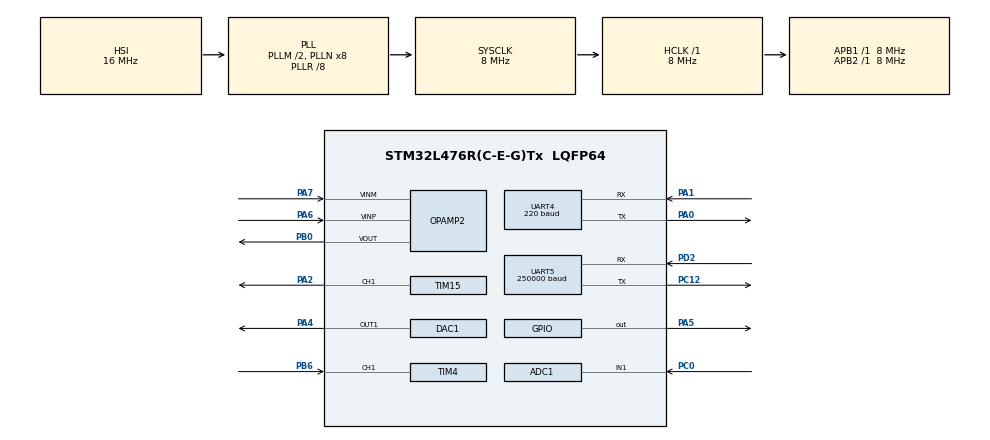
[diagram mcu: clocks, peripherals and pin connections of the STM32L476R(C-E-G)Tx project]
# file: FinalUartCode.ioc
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ADC1.Channel-0\#ChannelRegularConversion=ADC_CHANNEL_1
ADC1.NbrOfConversionFlag=1
ADC1.OffsetNumber-0\#ChannelRegularConversion=ADC_OFFSET_NONE
ADC1.Rank-0\#ChannelRegularConversion=1
ADC1.SamplingTime-0\#ChannelRegularConversion=ADC_SAMPLETIME_247CYCLES_5
ADC1.master=1
Dma.ADC1.4.Direction=DMA_PERIPH_TO_MEMORY
Dma.ADC1.4.Instance=DMA1_Channel1
Dma.ADC1.4.MemDataAlignment=DMA_MDATAALIGN_HALFWORD
Dma.ADC1.4.MemInc=DMA_MINC_ENABLE
Dma.ADC1.4.Mode=DMA_CIRCULAR
Dma.ADC1.4.PeriphDataAlignment=DMA_PDATAALIGN_HALFWORD
Dma.ADC1.4.PeriphInc=DMA_PINC_DISABLE
Dma.ADC1.4.Priority=DMA_PRIORITY_LOW
Dma.Request0=UART4_RX
Dma.Request1=UART5_RX
Dma.Request2=UART5_TX
Dma.Request3=UART4_TX
Dma.Request4=ADC1
Dma.UART4_RX.0.Direction=DMA_PERIPH_TO_MEMORY
Dma.UART4_RX.0.Instance=DMA2_Channel5
Dma.UART4_RX.0.MemDataAlignment=DMA_MDATAALIGN_BYTE
Dma.UART4_RX.0.MemInc=DMA_MINC_ENABLE
Dma.UART4_RX.0.Mode=DMA_CIRCULAR
Dma.UART4_RX.0.PeriphDataAlignment=DMA_PDATAALIGN_BYTE
Dma.UART4_RX.0.PeriphInc=DMA_PINC_DISABLE
Dma.UART4_RX.0.Priority=DMA_PRIORITY_LOW
Dma.UART4_TX.3.Direction=DMA_MEMORY_TO_PERIPH
Dma.UART4_TX.3.Instance=DMA2_Channel3
Dma.UART4_TX.3.MemDataAlignment=DMA_MDATAALIGN_BYTE
Dma.UART4_TX.3.MemInc=DMA_MINC_ENABLE
Dma.UART4_TX.3.Mode=DMA_NORMAL
Dma.UART4_TX.3.PeriphDataAlignment=DMA_PDATAALIGN_BYTE
Dma.UART4_TX.3.PeriphInc=DMA_PINC_DISABLE
Dma.UART4_TX.3.Priority=DMA_PRIORITY_LOW
Dma.UART5_RX.1.Direction=DMA_PERIPH_TO_MEMORY
Dma.UART5_RX.1.Instance=DMA2_Channel2
Dma.UART5_RX.1.MemDataAlignment=DMA_MDATAALIGN_BYTE
Dma.UART5_RX.1.MemInc=DMA_MINC_ENABLE
Dma.UART5_RX.1.Mode=DMA_CIRCULAR
Dma.UART5_RX.1.PeriphDataAlignment=DMA_PDATAALIGN_BYTE
Dma.UART5_RX.1.PeriphInc=DMA_PINC_DISABLE
Dma.UART5_RX.1.Priority=DMA_PRIORITY_LOW
Dma.UART5_TX.2.Direction=DMA_MEMORY_TO_PERIPH
Dma.UART5_TX.2.Instance=DMA2_Channel1
Dma.UART5_TX.2.MemDataAlignment=DMA_MDATAALIGN_BYTE
Dma.UART5_TX.2.MemInc=DMA_MINC_ENABLE
Dma.UART5_TX.2.Mode=DMA_NORMAL
Dma.UART5_TX.2.PeriphDataAlignment=DMA_PDATAALIGN_BYTE
Dma.UART5_TX.2.PeriphInc=DMA_PINC_DISABLE
Dma.UART5_TX.2.Priority=DMA_PRIORITY_LOW
FREERTOS.Tasks01=UART_com,0,128,UARTPathIn,Default,NULL,Dynamic,NULL,NULL;UART_com2,-2,128,UARTPathOut,Default,NULL,Dynamic,NULL,NULL
FREERTOS.configUSE_NEWLIB_REENTRANT=1
Mcu.Family=STM32L4
Mcu.Name=STM32L476R(C-E-G)Tx
Mcu.Package=LQFP64
NVIC.ADC1_2_IRQn=true\:5\:0\:false\:false\:true\:true\:true\:true\:true
NVIC.DMA1_Channel1_IRQn=true\:5\:0\:false\:false\:true\:true\:false\:true\:true
NVIC.DMA2_Channel1_IRQn=true\:5\:0\:true\:false\:true\:true\:false\:true\:true
NVIC.DMA2_Channel2_IRQn=true\:5\:0\:true\:false\:true\:true\:false\:true\:true
NVIC.DMA2_Channel3_IRQn=true\:5\:0\:false\:false\:true\:true\:false\:true\:true
NVIC.DMA2_Channel5_IRQn=true\:5\:0\:false\:false\:true\:true\:false\:true\:true
NVIC.PriorityGroup=NVIC_PRIORITYGROUP_4
NVIC.TIM1_UP_TIM16_IRQn=true\:15\:0\:false\:false\:true\:false\:false\:true\:true
NVIC.TIM4_IRQn=true\:5\:0\:false\:false\:true\:true\:true\:true\:true
NVIC.TIM6_DAC_IRQn=true\:5\:0\:false\:false\:true\:true\:true\:true\:true
NVIC.TimeBase=TIM1_UP_TIM16_IRQn
NVIC.TimeBaseIP=TIM1
NVIC.UART4_IRQn=true\:5\:0\:false\:false\:true\:true\:true\:true\:true
NVIC.UART5_IRQn=true\:5\:0\:false\:false\:true\:true\:true\:true\:true
PA0.Mode=Asynchronous
PA0.Signal=UART4_TX
PA1.Mode=Asynchronous
PA1.Signal=UART4_RX
PA13\ (JTMS-SWDIO).Mode=JTAG_5_pins
PA13\ (JTMS-SWDIO).Signal=SYS_JTMS-SWDIO
PA14\ (JTCK-SWCLK).Mode=JTAG_5_pins
PA14\ (JTCK-SWCLK).Signal=SYS_JTCK-SWCLK
PA15\ (JTDI).Mode=JTAG_5_pins
PA15\ (JTDI).Signal=SYS_JTDI
PA2.Signal=S_TIM15_CH1
PA4.Signal=COMP_DAC11_group
PA5.Signal=GPIO_Output
PA6.Mode=PGA Connected
PA6.Signal=OPAMP2_VINP
PA7.Mode=PGA Connected
PA7.Signal=OPAMP2_VINM
PB0.Mode=PGA Connected
PB0.Signal=OPAMP2_VOUT
PB3\ (JTDO-TRACESWO).Mode=JTAG_5_pins
PB3\ (JTDO-TRACESWO).Signal=SYS_JTDO-SWO
PB4\ (NJTRST).Mode=JTAG_5_pins
PB4\ (NJTRST).Signal=SYS_JTRST
PB6.Signal=S_TIM4_CH1
PC0.Signal=ADCx_IN1
PC12.Mode=Asynchronous
PC12.Signal=UART5_TX
PC14-OSC32_IN\ (PC14).Mode=LSE-External-Oscillator
PC14-OSC32_IN\ (PC14).Signal=RCC_OSC32_IN
PC15-OSC32_OUT\ (PC15).Mode=LSE-External-Oscillator
PC15-OSC32_OUT\ (PC15).Signal=RCC_OSC32_OUT
PD2.Mode=Asynchronous
PD2.Signal=UART5_RX
PH0-OSC_IN\ (PH0).Mode=HSE-External-Oscillator
PH0-OSC_IN\ (PH0).Signal=RCC_OSC_IN
PH1-OSC_OUT\ (PH1).Mode=HSE-External-Oscillator
PH1-OSC_OUT\ (PH1).Signal=RCC_OSC_OUT
ProjectManager.HeapSize=0x200
ProjectManager.StackSize=0x400
ProjectManager.TargetToolchain=STM32CubeIDE
RCC.ADCFreq_Value=8000000
RCC.AHBFreq_Value=8000000
RCC.APB1Freq_Value=8000000
RCC.APB1TimFreq_Value=8000000
RCC.APB2Freq_Value=8000000
RCC.APB2TimFreq_Value=8000000
RCC.CortexFreq_Value=8000000
RCC.HCLKFreq_Value=8000000
RCC.HSE_VALUE=8000000
RCC.HSI_VALUE=16000000
RCC.MSI_VALUE=4000000
RCC.PLLM=2
RCC.PLLR=RCC_PLLR_DIV8
RCC.PLLSAI1R=RCC_PLLR_DIV8
RCC.PLLSourceVirtual=RCC_PLLSOURCE_HSI
RCC.SYSCLKFreq_VALUE=8000000
RCC.SYSCLKSource=RCC_SYSCLKSOURCE_PLLCLK
RCC.USBFreq_Value=32000000
RCC.VCOOutputFreq_Value=64000000
SH.ADCx_IN1.0=ADC1_IN1,IN1-Single-Ended
SH.COMP_DAC11_group.0=DAC1_OUT1,DAC_OUT1
SH.S_TIM15_CH1.0=TIM15_CH1,PWM Generation1 CH1
SH.S_TIM4_CH1.0=TIM4_CH1,Input_Capture1_from_TI1
TIM15.Channel-PWM\ Generation1\ CH1=TIM_CHANNEL_1
TIM15.Period=913
TIM15.Pulse-PWM\ Generation1\ CH1=457
TIM4.Channel-Input_Capture1_from_TI1=TIM_CHANNEL_1
UART4.BaudRate=220
UART5.BaudRate=250000
VP_FREERTOS_VS_CMSIS_V1.Mode=CMSIS_V1
VP_SYS_VS_tim1.Mode=TIM1
board=custom

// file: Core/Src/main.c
/* USER CODE BEGIN Header */
/**
  ******************************************************************************
  * @file           : main.c
  * @brief          : Main program body
  ******************************************************************************
  * @attention
  *
  * Copyright (c) 2024 STMicroelectronics.
  * All rights reserved.
  *
  * This software is licensed under terms that can be found in the LICENSE file
  * in the root directory of this software component.
  * If no LICENSE file comes with this software, it is provided AS-IS.
  *
  ******************************************************************************
  */
/* USER CODE END Header */
#include "main.h"
#include "cmsis_os.h"

/* USER CODE BEGIN Includes */
#include <stdio.h>
#include <stdlib.h>
/* USER CODE END Includes */

ADC_HandleTypeDef hadc1;
DMA_HandleTypeDef hdma_adc1;

DAC_HandleTypeDef hdac1;

OPAMP_HandleTypeDef hopamp2;

TIM_HandleTypeDef htim4;
TIM_HandleTypeDef htim15;

UART_HandleTypeDef huart4;
UART_HandleTypeDef huart5;
DMA_HandleTypeDef hdma_uart4_rx;
DMA_HandleTypeDef hdma_uart4_tx;
DMA_HandleTypeDef hdma_uart5_rx;
DMA_HandleTypeDef hdma_uart5_tx;

osThreadId UART_comHandle;
osThreadId UART_com2Handle;

void SystemClock_Config(void);
static void MX_GPIO_Init(void);
static void MX_DMA_Init(void);
static void MX_UART4_Init(void);
static void MX_UART5_Init(void);
static void MX_TIM15_Init(void);
static void MX_OPAMP2_Init(void);
static void MX_DAC1_Init(void);
static void MX_ADC1_Init(void);
static void MX_TIM4_Init(void);
void UARTPathIn(void const * argument);
void UARTPathOut(void const * argument);

/* USER CODE BEGIN 0 */
#define BUFFER_SIZE_X 1
#define BUFFER_SIZE_Y 255

/*
 * Variables for UART - high speed path
 *
 */

uint8_t dmaBufferHS[BUFFER_SIZE_Y][BUFFER_SIZE_X];
uint8_t rxDataHS[BUFFER_SIZE_X];

int counterBufferCpltHS_tx = 0; // Counter for all transmissions completed
int * counterBufferCpltHS_tx_ptr = &counterBufferCpltHS_tx; //

int counterBufferCpltHS_rx = 0; // Counter for all receptions completed
int * counterBufferCpltHS_rx_ptr = &counterBufferCpltHS_rx; // Pointer type for chasing algorithm and instant access to changed state.

int counterHS_tx = 0; // Counter of transmissions up to buffer size
int * counterHS_tx_ptr = &counterHS_tx;

int counterHS_rx = 0; // Counter of receptions up to buffer size

/*
 * Variables for UART - low speed path
 *
 */

uint8_t dmaBufferLS[BUFFER_SIZE_Y][BUFFER_SIZE_X];
uint8_t rxDataLS[BUFFER_SIZE_X];

int counterBufferCpltLS_tx = 0; // Counter for all transmissions completed
int * counterBufferCpltLS_tx_ptr = &counterBufferCpltLS_tx; //

int counterBufferCpltLS_rx = 0; // Counter for all receptions completed
int * counterBufferCpltLS_rx_ptr = &counterBufferCpltLS_rx; // Pointer type for chasing algorithm and instant access to changed state.

int counterLS_tx = 0; // Counter of transmissions up to buffer size
int * counterLS_tx_ptr = &counterLS_tx;

int counterLS_rx = 0; // Counter of receptions up to buffer size

/**
 * Variables For Command Matching
 *
 */

int counterCommands = 0;
int * counterCommands_ptr = &counterCommands;

/**
 * Variables For ADC
 *
 */
uint32_t value_adc;

/**
 * Variables For Wave Capture
 *
 */
uint32_t t1 = 0;
uint32_t t2 = 0;
int f_clk = 8000000; //8000000 no pre-scale
int f = 0;
uint32_t value = 0;
uint32_t previousf = 0;
uint32_t difference = 0;

uint8_t bf[4];

int f_trigger = 8763;
int f_threshold = 200;
int f_debounce = 30;

void HAL_TIM_IC_CaptureCallback(TIM_HandleTypeDef *htim)
{

  if(htim->Channel == HAL_TIM_ACTIVE_CHANNEL_1)
  {
  	value = HAL_TIM_ReadCapturedValue(htim, TIM_CHANNEL_1);

  	if(t1 == 0) {
  		t1 = value;
  	} else {
  		t2 = value;

  		difference = (t2 < t1) ? (htim->Instance->ARR - t1 + t2) : (t2 - t1); // Adjustment if ARR overflow occurs in between the captured edges

  		f = f_clk/difference; // Clock frequency / difference between rising edges

  		if(abs((int)f - (int)previousf) > f_debounce) // Debounce the input signal from the control knob of the oscilloscope
  		{
  	  		// Setting threshold for capturing desired frequency
  	  		if((f < (f_trigger + f_threshold)) && (f > (f_trigger - f_threshold)))
  	  		{
  	  			/**
  	  			 * This is the event triggered when the frequency is within the limits.
  	  			 *
  	  			 */
  	  			sprintf((char *) bf, "%d", f);
  	  			HAL_UART_Transmit(&huart5, (uint8_t*) bf, sizeof(bf), 100);
  	  		}

  	        previousf = f;
  		}

        f = 0;
        difference = 0;
        t1 = 0;
        t2 = 0;
  	}
  }

}

void HAL_UART_TxCpltCallback(UART_HandleTypeDef *huart)
{
	if (huart->Instance == UART4)
	{
		if(counterLS_tx == (BUFFER_SIZE_Y-1)) {
			counterLS_tx = 0; // Resets counter when number of transmissions exceeds buffer size
		} else {
			counterLS_tx++; // Increments counter when number of transmissions is smaller than buffer size
		}

	}
	else if (huart->Instance == UART5)
	{
		if(counterHS_tx == (BUFFER_SIZE_Y-1)) {
			counterHS_tx = 0; // Resets counter when number of transmissions exceeds buffer size
		} else {
			counterHS_tx++; // Increments counter when number of transmissions is smaller than buffer size
		}
	}
}

void HAL_UART_RxCpltCallback(UART_HandleTypeDef *huart)
{
	// the DMA is quicker than the transmission
	// the buffering needs to slow down
	// the buffer may not be big enough for such baud rate difference
	// the DMA will not wait for the call back to finish

	if (huart->Instance == UART5)
	{
		dmaBufferLS[counterLS_rx][0] = rxDataLS[0];

		if(counterLS_rx == (BUFFER_SIZE_Y-1)) {
			counterLS_rx = 0; // Resets counter when number of receptions exceeds buffer size
		} else {
			counterLS_rx++; // Increments counter when number of receptions is smaller than buffer size
		}

		counterBufferCpltLS_rx++;
	}
	else if (huart->Instance == UART4)
	{
		dmaBufferHS[counterHS_rx][0] = rxDataHS[0];

		if(counterHS_rx == (BUFFER_SIZE_Y-1)) {
			counterHS_rx = 0; // Resets counter when number of receptions exceeds buffer size
		} else {
			counterHS_rx++; // Increments counter when number of receptions is smaller than buffer size
		}

		counterBufferCpltHS_rx++;
	}
}

void transmitData(UART_HandleTypeDef * huart_f, uint8_t dmaBuffer_f[BUFFER_SIZE_Y][BUFFER_SIZE_X], int *counterBufferCplt_rx_ptr_f, int *counterBufferCplt_tx_ptr_f, int *counter_tx_ptr_f)
{
		if(*counterBufferCplt_tx_ptr_f < *counterBufferCplt_rx_ptr_f)
		{
			for(int index = *counterBufferCplt_tx_ptr_f; index < *counterBufferCplt_rx_ptr_f && (huart_f->gState == HAL_UART_STATE_READY); index++)
			{
					//HAL_Delay(500);
					if(HAL_UART_Transmit_DMA(huart_f, dmaBuffer_f[*counter_tx_ptr_f], 1) == HAL_OK)
					{
						(*counterBufferCplt_tx_ptr_f)++;
					}
			}
		}
}

/*
int commandRecognition(const char code[], int *counterCommands_f_ptr, int *counterBufferCplt_f_rx_ptr, uint8_t (*dmaBuffer_f)[BUFFER_SIZE_Y][BUFFER_SIZE_X]) {

	int command_length = 5;

    int command_matched = 0;

    for (int index = *counterCommands_f_ptr;
        (index <= *counterBufferCplt_f_rx_ptr) && (*counterBufferCplt_f_rx_ptr >= command_length); index++)
    {
  	  HAL_Delay(500);

  	  if ((*dmaBuffer_f[(index - command_length)][0] == code[0])  // Corrected
  	      && (*dmaBuffer_f[(index - command_length + 1)][0] == code[1])
  	      && (*dmaBuffer_f[(index - command_length + 2)][0] == code[2])
  	      && (*dmaBuffer_f[(index - command_length + 3)][0] == code[3])
  	      && (*dmaBuffer_f[(index - command_length + 4)][0] == code[4]))
  	  {
  		  command_matched = 1;
  		  break;
  	  }

  	  //restarting the index count when reaching the end of the buffer
  	  if(*counterCommands_f_ptr <= BUFFER_SIZE_Y)
  	  {
  		  (*counterCommands_f_ptr)++;
  	  } else {
  		  *counterCommands_f_ptr = 0;
  	  }

    }
    //uint8_t dd = dmaBufferHS[2][0];
    //uint8_t dd2 = *dmaBuffer_f[2][0];

    return command_matched;
}

dmaBufferLS[0][0] = 'C';
dmaBufferLS[1][0] = 'O';
dmaBufferLS[2][0] = 'D';
dmaBufferLS[3][0] = 'E';
dmaBufferLS[4][0] = '1';

*/

/* USER CODE END 0 */

int main(void)
{

  /* MCU Configuration--------------------------------------------------------*/

  /* Reset of all peripherals, Initializes the Flash interface and the Systick. */
  HAL_Init();

  /* Configure the system clock */
  SystemClock_Config();

  /* Initialize all configured peripherals */
  MX_GPIO_Init();
  MX_DMA_Init();
  MX_UART4_Init();
  MX_UART5_Init();
  MX_TIM15_Init();
  MX_OPAMP2_Init();
  MX_DAC1_Init();
  MX_ADC1_Init();
  MX_TIM4_Init();
  /* USER CODE BEGIN 2 */

  /***
   * Start off the ADC Channel and calibrate it
   * When testing the ADC, it is best to connect it to a DC supply first.
   */
  HAL_ADCEx_Calibration_Start(&hadc1, ADC_SINGLE_ENDED);
  HAL_ADC_Start_DMA(&hadc1, &value_adc, 1);

  /***
   * Start OPAMP2
   *
   */
  HAL_OPAMP_Start(&hopamp2);

  /***
   * PWM
   * Use Timer 8 for testing.
   * HAL_TIM_PWM_Start(&htim8, TIM_CHANNEL_1);
   *
   */
  HAL_TIM_PWM_Start(&htim15, TIM_CHANNEL_1); // Solder Bridge on Nucleo, test it on TIM2

  /***
   * Start Wave Capture
   *
   */
  HAL_TIM_IC_Start_IT(&htim4, TIM_CHANNEL_1);
  /***
   * UART Communication DMA
   *
   */
  HAL_UART_Receive_DMA(&huart4, rxDataHS, BUFFER_SIZE_X);
  HAL_UART_Receive_DMA(&huart5, rxDataLS, BUFFER_SIZE_X);

  /* USER CODE END 2 */

  /* Create the thread(s) */
  /* definition and creation of UART_com */
  osThreadDef(UART_com, UARTPathIn, osPriorityNormal, 0, 128);
  UART_comHandle = osThreadCreate(osThread(UART_com), NULL);

  /* definition and creation of UART_com2 */
  osThreadDef(UART_com2, UARTPathOut, osPriorityLow, 0, 128);
  UART_com2Handle = osThreadCreate(osThread(UART_com2), NULL);

  /* Start scheduler */
  osKernelStart();

  /* We should never get here as control is now taken by the scheduler */

  /* Infinite loop */
  /* USER CODE BEGIN WHILE */
  while (1)
  {

	/*

	if(commandRecognition("CODE1", counterCommandsHS_ptr, counterBufferCpltHS_rx_ptr, dmaBufferLS) == 1) {
		HAL_GPIO_WritePin(GPIOA, GPIO_PIN_5, GPIO_PIN_SET);
		HAL_Delay(500);
		HAL_GPIO_WritePin(GPIOA, GPIO_PIN_5, GPIO_PIN_RESET);
		HAL_Delay(500);
	}
	*/

    /* USER CODE END WHILE */

  }
}

void SystemClock_Config(void)
{
  RCC_OscInitTypeDef RCC_OscInitStruct = {0};
  RCC_ClkInitTypeDef RCC_ClkInitStruct = {0};

  /** Configure the main internal regulator output voltage
  */
  if (HAL_PWREx_ControlVoltageScaling(PWR_REGULATOR_VOLTAGE_SCALE1) != HAL_OK)
  {
    Error_Handler();
  }

  /** Initializes the RCC Oscillators according to the specified parameters
  * in the RCC_OscInitTypeDef structure.
  */
  RCC_OscInitStruct.OscillatorType = RCC_OSCILLATORTYPE_HSI;
  RCC_OscInitStruct.HSIState = RCC_HSI_ON;
  RCC_OscInitStruct.HSICalibrationValue = RCC_HSICALIBRATION_DEFAULT;
  RCC_OscInitStruct.PLL.PLLState = RCC_PLL_ON;
  RCC_OscInitStruct.PLL.PLLSource = RCC_PLLSOURCE_HSI;
  RCC_OscInitStruct.PLL.PLLM = 2;
  RCC_OscInitStruct.PLL.PLLN = 8;
  RCC_OscInitStruct.PLL.PLLP = RCC_PLLP_DIV7;
  RCC_OscInitStruct.PLL.PLLQ = RCC_PLLQ_DIV2;
  RCC_OscInitStruct.PLL.PLLR = RCC_PLLR_DIV8;
  if (HAL_RCC_OscConfig(&RCC_OscInitStruct) != HAL_OK)
  {
    Error_Handler();
  }

  /** Initializes the CPU, AHB and APB buses clocks
  */
  RCC_ClkInitStruct.ClockType = RCC_CLOCKTYPE_HCLK|RCC_CLOCKTYPE_SYSCLK
                              |RCC_CLOCKTYPE_PCLK1|RCC_CLOCKTYPE_PCLK2;
  RCC_ClkInitStruct.SYSCLKSource = RCC_SYSCLKSOURCE_PLLCLK;
  RCC_ClkInitStruct.AHBCLKDivider = RCC_SYSCLK_DIV1;
  RCC_ClkInitStruct.APB1CLKDivider = RCC_HCLK_DIV1;
  RCC_ClkInitStruct.APB2CLKDivider = RCC_HCLK_DIV1;

  if (HAL_RCC_ClockConfig(&RCC_ClkInitStruct, FLASH_LATENCY_0) != HAL_OK)
  {
    Error_Handler();
  }
}

static void MX_ADC1_Init(void)
{

  ADC_MultiModeTypeDef multimode = {0};
  ADC_ChannelConfTypeDef sConfig = {0};

  /** Common config
  */
  hadc1.Instance = ADC1;
  hadc1.Init.ClockPrescaler = ADC_CLOCK_ASYNC_DIV1;
  hadc1.Init.Resolution = ADC_RESOLUTION_12B;
  hadc1.Init.DataAlign = ADC_DATAALIGN_RIGHT;
  hadc1.Init.ScanConvMode = ADC_SCAN_DISABLE;
  hadc1.Init.EOCSelection = ADC_EOC_SINGLE_CONV;
  hadc1.Init.LowPowerAutoWait = DISABLE;
  hadc1.Init.ContinuousConvMode = DISABLE;
  hadc1.Init.NbrOfConversion = 1;
  hadc1.Init.DiscontinuousConvMode = DISABLE;
  hadc1.Init.ExternalTrigConv = ADC_SOFTWARE_START;
  hadc1.Init.ExternalTrigConvEdge = ADC_EXTERNALTRIGCONVEDGE_NONE;
  hadc1.Init.DMAContinuousRequests = DISABLE;
  hadc1.Init.Overrun = ADC_OVR_DATA_PRESERVED;
  hadc1.Init.OversamplingMode = DISABLE;
  if (HAL_ADC_Init(&hadc1) != HAL_OK)
  {
    Error_Handler();
  }

  /** Configure the ADC multi-mode
  */
  multimode.Mode = ADC_MODE_INDEPENDENT;
  if (HAL_ADCEx_MultiModeConfigChannel(&hadc1, &multimode) != HAL_OK)
  {
    Error_Handler();
  }

  /** Configure Regular Channel
  */
  sConfig.Channel = ADC_CHANNEL_1;
  sConfig.Rank = ADC_REGULAR_RANK_1;
  sConfig.SamplingTime = ADC_SAMPLETIME_247CYCLES_5;
  sConfig.SingleDiff = ADC_SINGLE_ENDED;
  sConfig.OffsetNumber = ADC_OFFSET_NONE;
  sConfig.Offset = 0;
  if (HAL_ADC_ConfigChannel(&hadc1, &sConfig) != HAL_OK)
  {
    Error_Handler();
  }

}

static void MX_DAC1_Init(void)
{

  DAC_ChannelConfTypeDef sConfig = {0};

  /** DAC Initialization
  */
  hdac1.Instance = DAC1;
  if (HAL_DAC_Init(&hdac1) != HAL_OK)
  {
    Error_Handler();
  }

  /** DAC channel OUT1 config
  */
  sConfig.DAC_SampleAndHold = DAC_SAMPLEANDHOLD_DISABLE;
  sConfig.DAC_Trigger = DAC_TRIGGER_NONE;
  sConfig.DAC_OutputBuffer = DAC_OUTPUTBUFFER_ENABLE;
  sConfig.DAC_ConnectOnChipPeripheral = DAC_CHIPCONNECT_DISABLE;
  sConfig.DAC_UserTrimming = DAC_TRIMMING_FACTORY;
  if (HAL_DAC_ConfigChannel(&hdac1, &sConfig, DAC_CHANNEL_1) != HAL_OK)
  {
    Error_Handler();
  }

}

static void MX_OPAMP2_Init(void)
{

  hopamp2.Instance = OPAMP2;
  hopamp2.Init.PowerSupplyRange = OPAMP_POWERSUPPLY_LOW;
  hopamp2.Init.Mode = OPAMP_PGA_MODE;
  hopamp2.Init.NonInvertingInput = OPAMP_NONINVERTINGINPUT_IO0;
  hopamp2.Init.InvertingInput = OPAMP_INVERTINGINPUT_IO0;
  hopamp2.Init.PgaGain = OPAMP_PGA_GAIN_2;
  hopamp2.Init.PowerMode = OPAMP_POWERMODE_NORMALPOWER;
  hopamp2.Init.UserTrimming = OPAMP_TRIMMING_FACTORY;
  if (HAL_OPAMP_Init(&hopamp2) != HAL_OK)
  {
    Error_Handler();
  }

}

static void MX_TIM4_Init(void)
{

  TIM_MasterConfigTypeDef sMasterConfig = {0};
  TIM_IC_InitTypeDef sConfigIC = {0};

  htim4.Instance = TIM4;
  htim4.Init.Prescaler = 0;
  htim4.Init.CounterMode = TIM_COUNTERMODE_UP;
  htim4.Init.Period = 65535;
  htim4.Init.ClockDivision = TIM_CLOCKDIVISION_DIV1;
  htim4.Init.AutoReloadPreload = TIM_AUTORELOAD_PRELOAD_DISABLE;
  if (HAL_TIM_IC_Init(&htim4) != HAL_OK)
  {
    Error_Handler();
  }
  sMasterConfig.MasterOutputTrigger = TIM_TRGO_RESET;
  sMasterConfig.MasterSlaveMode = TIM_MASTERSLAVEMODE_DISABLE;
  if (HAL_TIMEx_MasterConfigSynchronization(&htim4, &sMasterConfig) != HAL_OK)
  {
    Error_Handler();
  }
  sConfigIC.ICPolarity = TIM_INPUTCHANNELPOLARITY_RISING;
  sConfigIC.ICSelection = TIM_ICSELECTION_DIRECTTI;
  sConfigIC.ICPrescaler = TIM_ICPSC_DIV1;
  sConfigIC.ICFilter = 0;
  if (HAL_TIM_IC_ConfigChannel(&htim4, &sConfigIC, TIM_CHANNEL_1) != HAL_OK)
  {
    Error_Handler();
  }

}

static void MX_TIM15_Init(void)
{

  TIM_MasterConfigTypeDef sMasterConfig = {0};
  TIM_OC_InitTypeDef sConfigOC = {0};
  TIM_BreakDeadTimeConfigTypeDef sBreakDeadTimeConfig = {0};

  htim15.Instance = TIM15;
  htim15.Init.Prescaler = 0;
  htim15.Init.CounterMode = TIM_COUNTERMODE_UP;
  htim15.Init.Period = 913;
  htim15.Init.ClockDivision = TIM_CLOCKDIVISION_DIV1;
  htim15.Init.RepetitionCounter = 0;
  htim15.Init.AutoReloadPreload = TIM_AUTORELOAD_PRELOAD_DISABLE;
  if (HAL_TIM_PWM_Init(&htim15) != HAL_OK)
  {
    Error_Handler();
  }
  sMasterConfig.MasterOutputTrigger = TIM_TRGO_RESET;
  sMasterConfig.MasterSlaveMode = TIM_MASTERSLAVEMODE_DISABLE;
  if (HAL_TIMEx_MasterConfigSynchronization(&htim15, &sMasterConfig) != HAL_OK)
  {
    Error_Handler();
  }
  sConfigOC.OCMode = TIM_OCMODE_PWM1;
  sConfigOC.Pulse = 457;
  sConfigOC.OCPolarity = TIM_OCPOLARITY_HIGH;
  sConfigOC.OCNPolarity = TIM_OCNPOLARITY_HIGH;
  sConfigOC.OCFastMode = TIM_OCFAST_DISABLE;
  sConfigOC.OCIdleState = TIM_OCIDLESTATE_RESET;
  sConfigOC.OCNIdleState = TIM_OCNIDLESTATE_RESET;
  if (HAL_TIM_PWM_ConfigChannel(&htim15, &sConfigOC, TIM_CHANNEL_1) != HAL_OK)
  {
    Error_Handler();
  }
  sBreakDeadTimeConfig.OffStateRunMode = TIM_OSSR_DISABLE;
  sBreakDeadTimeConfig.OffStateIDLEMode = TIM_OSSI_DISABLE;
  sBreakDeadTimeConfig.LockLevel = TIM_LOCKLEVEL_OFF;
  sBreakDeadTimeConfig.DeadTime = 0;
  sBreakDeadTimeConfig.BreakState = TIM_BREAK_DISABLE;
  sBreakDeadTimeConfig.BreakPolarity = TIM_BREAKPOLARITY_HIGH;
  sBreakDeadTimeConfig.AutomaticOutput = TIM_AUTOMATICOUTPUT_DISABLE;
  if (HAL_TIMEx_ConfigBreakDeadTime(&htim15, &sBreakDeadTimeConfig) != HAL_OK)
  {
    Error_Handler();
  }
  HAL_TIM_MspPostInit(&htim15);

}

static void MX_UART4_Init(void)
{

  huart4.Instance = UART4;
  huart4.Init.BaudRate = 220;
  huart4.Init.WordLength = UART_WORDLENGTH_8B;
  huart4.Init.StopBits = UART_STOPBITS_1;
  huart4.Init.Parity = UART_PARITY_NONE;
  huart4.Init.Mode = UART_MODE_TX_RX;
  huart4.Init.HwFlowCtl = UART_HWCONTROL_NONE;
  huart4.Init.OverSampling = UART_OVERSAMPLING_16;
  huart4.Init.OneBitSampling = UART_ONE_BIT_SAMPLE_DISABLE;
  huart4.AdvancedInit.AdvFeatureInit = UART_ADVFEATURE_NO_INIT;
  if (HAL_UART_Init(&huart4) != HAL_OK)
  {
    Error_Handler();
  }

}

static void MX_UART5_Init(void)
{

  huart5.Instance = UART5;
  huart5.Init.BaudRate = 250000;
  huart5.Init.WordLength = UART_WORDLENGTH_8B;
  huart5.Init.StopBits = UART_STOPBITS_1;
  huart5.Init.Parity = UART_PARITY_NONE;
  huart5.Init.Mode = UART_MODE_TX_RX;
  huart5.Init.HwFlowCtl = UART_HWCONTROL_NONE;
  huart5.Init.OverSampling = UART_OVERSAMPLING_16;
  huart5.Init.OneBitSampling = UART_ONE_BIT_SAMPLE_DISABLE;
  huart5.AdvancedInit.AdvFeatureInit = UART_ADVFEATURE_NO_INIT;
  if (HAL_UART_Init(&huart5) != HAL_OK)
  {
    Error_Handler();
  }

}

static void MX_DMA_Init(void)
{

  /* DMA controller clock enable */
  __HAL_RCC_DMA2_CLK_ENABLE();
  __HAL_RCC_DMA1_CLK_ENABLE();

  /* DMA interrupt init */
  /* DMA1_Channel1_IRQn interrupt configuration */
  HAL_NVIC_SetPriority(DMA1_Channel1_IRQn, 5, 0);
  HAL_NVIC_EnableIRQ(DMA1_Channel1_IRQn);
  /* DMA2_Channel1_IRQn interrupt configuration */
  HAL_NVIC_SetPriority(DMA2_Channel1_IRQn, 5, 0);
  HAL_NVIC_EnableIRQ(DMA2_Channel1_IRQn);
  /* DMA2_Channel2_IRQn interrupt configuration */
  HAL_NVIC_SetPriority(DMA2_Channel2_IRQn, 5, 0);
  HAL_NVIC_EnableIRQ(DMA2_Channel2_IRQn);
  /* DMA2_Channel3_IRQn interrupt configuration */
  HAL_NVIC_SetPriority(DMA2_Channel3_IRQn, 5, 0);
  HAL_NVIC_EnableIRQ(DMA2_Channel3_IRQn);
  /* DMA2_Channel5_IRQn interrupt configuration */
  HAL_NVIC_SetPriority(DMA2_Channel5_IRQn, 5, 0);
  HAL_NVIC_EnableIRQ(DMA2_Channel5_IRQn);

}

static void MX_GPIO_Init(void)
{
  GPIO_InitTypeDef GPIO_InitStruct = {0};

  /* GPIO Ports Clock Enable */
  __HAL_RCC_GPIOC_CLK_ENABLE();
  __HAL_RCC_GPIOH_CLK_ENABLE();
  __HAL_RCC_GPIOA_CLK_ENABLE();
  __HAL_RCC_GPIOB_CLK_ENABLE();
  __HAL_RCC_GPIOD_CLK_ENABLE();

  /*Configure GPIO pin Output Level */
  HAL_GPIO_WritePin(GPIOA, GPIO_PIN_5, GPIO_PIN_RESET);

  /*Configure GPIO pin : PA5 */
  GPIO_InitStruct.Pin = GPIO_PIN_5;
  GPIO_InitStruct.Mode = GPIO_MODE_OUTPUT_PP;
  GPIO_InitStruct.Pull = GPIO_NOPULL;
  GPIO_InitStruct.Speed = GPIO_SPEED_FREQ_LOW;
  HAL_GPIO_Init(GPIOA, &GPIO_InitStruct);

}

void UARTPathIn(void const * argument)
{
  /* USER CODE BEGIN 5 */
  /* Infinite loop */
  for(;;)
  {
		transmitData(&huart5, dmaBufferHS, counterBufferCpltHS_rx_ptr, counterBufferCpltHS_tx_ptr, counterHS_tx_ptr);

    osDelay(1);
  }
  /* USER CODE END 5 */
}

void UARTPathOut(void const * argument)
{
  /* USER CODE BEGIN UARTPathOut */
  /* Infinite loop */
  for(;;)
  {
	  transmitData(&huart4, dmaBufferLS, counterBufferCpltLS_rx_ptr, counterBufferCpltLS_tx_ptr, counterLS_tx_ptr);
    osDelay(1);
  }
  /* USER CODE END UARTPathOut */
}

void HAL_TIM_PeriodElapsedCallback(TIM_HandleTypeDef *htim)
{
  if (htim->Instance == TIM1) {
    HAL_IncTick();
  }
}

void Error_Handler(void)
{
  __disable_irq();
  while (1)
  {
  }
}
